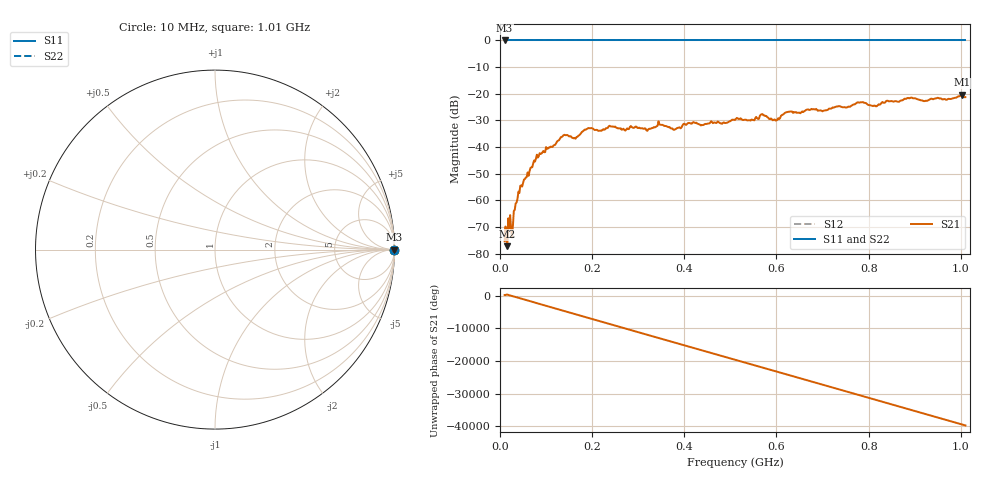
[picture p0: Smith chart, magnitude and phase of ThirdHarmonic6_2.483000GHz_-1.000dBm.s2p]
! 8/17/2025 4:38:57 AM
! C:\ANRITSUVNA\TEMP\TEMP.S2P
! CHANNEL.1
! TR.MEASUREMENT
! RAW.DATA
! RF.CORRECTION.OFF
! AVERAGING.OFF
! IF.BANDWIDTH: 5KHZ
! SWEEPTYPE:  FREQ.SWEEP(Linear)
! Reference Plane Port Info
! PORT:  PORT1  PORT2
! DISTANCE:  0  m  0  m
! TIME:  0  s  0  s
! PHASE.OFFSET:  0  deg.  0  deg.
! LOSS:  0  dB  0  dB
! REF.LOSS:  0  dB  0  dB
! REF.FREQ:  0  Hz  0  Hz
! Power Info
! POWER:  -20  dBm  -20  dBm
! EFF.POWER:  -20  dBm  -20  dBm
! SOURCE.ATTEN:  0  dB  0  dB
! TEST.ATTEN:  0  dB  0  dB
# GHZ S RI R 50.0
! FREQ.GHZ  S11RE  S11IM  S21RE  S21IM  S12RE  S12IM  S22RE  S22IM
!; PortSelection: Port_12
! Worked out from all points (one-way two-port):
!   501 points, 10 MHz to 1.01 GHz, reference 50 ohm
!   highest |S21| = -20.33 dB at 1.002 GHz (marker M1); lowest = -77.2 dB at 16 MHz (marker M2)
!   lowest |S11| = 0.0 dB at 10 MHz (marker M3)
!   |S11| at or under -10 dB: nowhere
!   |S22| runs from 0.0 to 0.0 dB; largest |S21 - S12| = 1.1
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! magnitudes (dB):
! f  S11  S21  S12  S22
! 10 MHz  0.0  -75.4  0.0  0.0
! 16 MHz  0.0  -77.2  0.0  0.0
! 28 MHz  0.0  -69.6  0.0  0.0
! 34 MHz  0.0  -61.2  0.0  0.0
! 44 MHz  0.0  -54.5  0.0  0.0
! 76 MHz  0.0  -45.4  0.0  0.0
! 136 MHz  0.0  -35.9  0.0  0.0
! 162 MHz  0.0  -36.6  0.0  0.0
! 178 MHz  0.0  -34.3  0.0  0.0
! 240 MHz  0.0  -32.3  0.0  0.0
! 322 MHz  0.0  -33.3  0.0  0.0
! 344 MHz  0.0  -30.3  0.0  0.0
! 380 MHz  0.0  -33.3  0.0  0.0
! 510 MHz  0.0  -29.8  0.0  0.0
! 548 MHz  0.0  -29.8  0.0  0.0
! 570 MHz  0.0  -27.7  0.0  0.0
! 598 MHz  0.0  -30.0  0.0  0.0
! 622 MHz  0.0  -26.9  0.0  0.0
! 678 MHz  0.0  -25.9  0.0  0.0
! 844 MHz  0.0  -22.8  0.0  0.0
! 1.002 GHz  0.0  -20.3  0.0  0.0
! 1.01 GHz  0.0  -21.3  0.0  0.0
